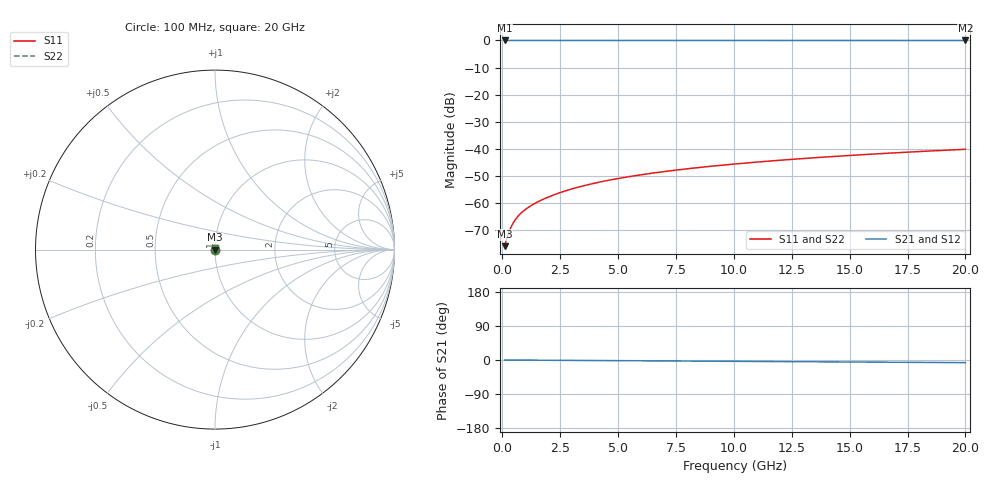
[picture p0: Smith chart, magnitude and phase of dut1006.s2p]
! Touchstone file exported from HFSS 2026.1.0
!  File:  C:/ffzhzh/LocalFiles/Ansys_Project_Files/temp_train_TSV_1006_1783188553_18472.aedt
!  Generated:  02:10:37 AM Jul  5, 2026
!  Design:  TSV
!  Project:  temp_train_TSV_1006_1783188553_18472
! Variables:
!  h_bsmrdl = 2um
!  h_ox = 20um
!  h_rdl = 5um
!  h_sub = 68.71um
!  h_tmrdl = 5um
!  h_tsv = 68.71um
!  h_via = 3um
!  l_bsmrdl = 300um
!  l_sub = 418.1um
!  l_tmrdl = 200um
!  m_sub = 200um
!  pitch = 39.86um
!  r_tsv = 9.05um
!  s_tmrdl = 10um
!  w_bsmrdl = 18um
!  w_sub = 500um
!  w_tmrdl = 12um
!  x_tsv_center1 = 206um
!  x_tsv_center2 = 524um
!  x_tsv_center3 = 736um
!  x_tsv_center4 = 1054um
!  x_tsv_center5 = 1266um
!  x_tsv_center6 = 1584um
# GHz S MA R 50.000000
! Terminal data exported
! Port[1] = TSV1_1_T1
! Port[2] = TSV1_1_T2
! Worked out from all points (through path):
!   200 points, 100 MHz to 20 GHz, reference 50 ohm
!   highest |S21| = 0.00 dB at 100 MHz (marker M1); lowest = 0.0 dB at 20 GHz (marker M2)
!   lowest |S11| = -76.0 dB at 100 MHz (marker M3), VSWR 1.00, Z = 50 + j0.00878 ohm
!   |S11| at or under -10 dB: start of sweep to end of sweep
!   |S22| runs from -76.0 to -40.2 dB; largest |S21 - S12| = 3.3e-15
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0.1  0.0001593 33.4  0.9999 -0.0  0.9999 -0.0  0.0001593 33.4
! Gamma 0 0 0 0
! Port Impedance 50 0 50 0
0.2  0.0002249 50.3  0.9999 -0.1  0.9999 -0.1  0.0002249 50.3
0.3  0.0003002 57.8  0.9998 -0.1  0.9998 -0.1  0.0003002 57.8
0.4  0.0003756 61.4  0.9998 -0.1  0.9998 -0.1  0.0003756 61.4
0.5  0.000448 63.3  0.9998 -0.2  0.9998 -0.2  0.000448 63.3
0.6  0.0005166 64.4  0.9998 -0.2  0.9998 -0.2  0.0005166 64.4
0.7  0.0005815 65.2  0.9998 -0.3  0.9998 -0.3  0.0005815 65.2
0.8  0.0006433 65.8  0.9997 -0.3  0.9997 -0.3  0.0006433 65.8
1  0.0007598 66.9  0.9997 -0.4  0.9997 -0.4  0.0007598 66.9
1.4  0.0009775 68.9  0.9997 -0.5  0.9997 -0.5  0.0009775 68.9
1.7  0.001136 70.2  0.9996 -0.6  0.9996 -0.6  0.001136 70.2
2  0.001293 71.3  0.9996 -0.7  0.9996 -0.7  0.001293 71.3
2.7  0.001657 73.2  0.9995 -1.0  0.9995 -1.0  0.001657 73.2
3.5  0.00207 74.5  0.9995 -1.2  0.9995 -1.2  0.00207 74.5
4.2  0.002426 75.2  0.9994 -1.5  0.9994 -1.5  0.002426 75.2
5  0.002826 75.8  0.9994 -1.8  0.9994 -1.8  0.002826 75.8
6.8  0.003704 76.4  0.9993 -2.4  0.9993 -2.4  0.003704 76.4
8.3  0.004419 76.7  0.9992 -2.9  0.9992 -2.9  0.004419 76.7
10.1  0.005266 76.9  0.9991 -3.5  0.9991 -3.5  0.005266 76.9
13.4  0.006798 76.8  0.999 -4.7  0.999 -4.7  0.006798 76.8
16.7  0.008307 76.4  0.9988 -5.8  0.9988 -5.8  0.008307 76.4
20  0.00979 75.8  0.9987 -7.0  0.9987 -7.0  0.009789 75.8
